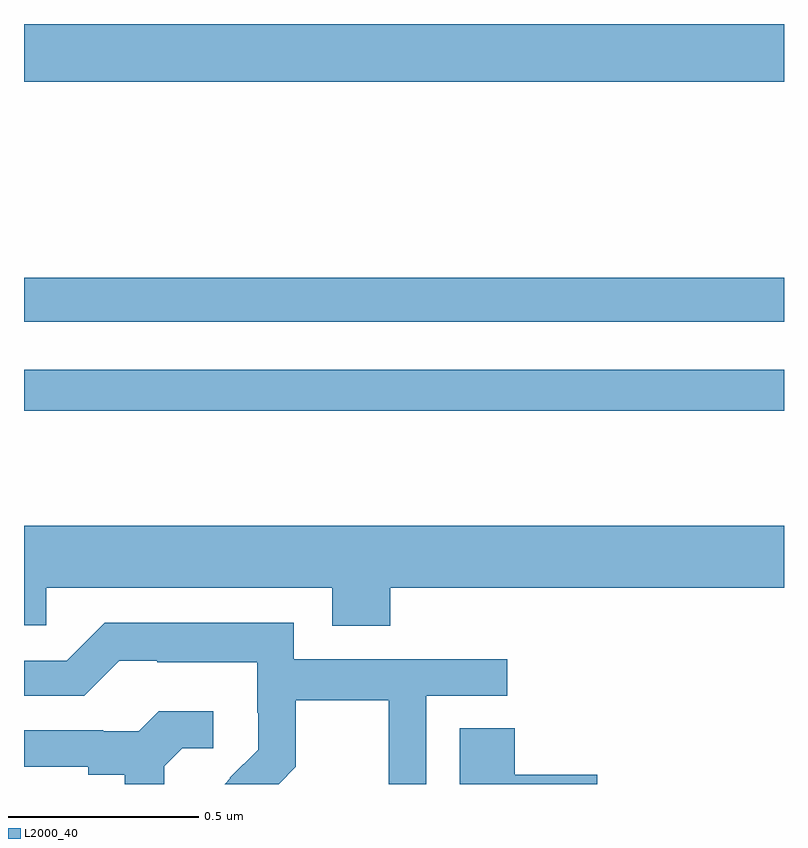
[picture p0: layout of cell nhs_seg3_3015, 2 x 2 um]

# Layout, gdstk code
import gdstk
lib = gdstk.Library(unit=1e-6, precision=1e-09)
def R(c, l, rs):  # rectangles x0, y0, x1, y1
    for r in rs: c.add(gdstk.rectangle(r[:2], r[2:], *l))
def P(c, l, *ps):  # polygons
    for p in ps: c.add(gdstk.Polygon(p, *l))
L2000_40 = (2000, 40)

nhs_seg3_3015 = lib.new_cell('nhs_seg3_3015')
R(nhs_seg3_3015, L2000_40, [(148,701.382,150,701.49), (148,701.616,150,701.732), (148,702.248,150,702.4)])
P(nhs_seg3_3015, L2000_40, [(148.964,700.916),(150,700.916),(150,701.08),(148,701.08),(148,700.818),(148.059,700.818),(148.059,700.916),(148.811,700.916),(148.811,700.817),(148.964,700.817)],
  [(148.715,700.445),(148.715,700.62),(148.96,700.62),(148.96,700.4),(149.058,700.4),(149.058,700.632),(149.272,700.632),(149.272,700.728),(148.71,700.728),(148.71,700.825),(148.213,700.825),(148.113,700.725),(148,700.725),(148,700.632),(148.158,700.632),(148.251,700.725),(148.351,700.725),(148.351,700.721),(148.614,700.721),(148.614,700.587),(148.616,700.587),(148.616,700.49),(148.542,700.416),(148.543,700.415),(148.528,700.4),(148.67,700.4)],
  [(148.369,700.447),(148.416,700.494),(148.498,700.494),(148.498,700.591),(148.354,700.591),(148.302,700.539),(148.208,700.539),(148.208,700.542),(148,700.542),(148,700.446),(148.169,700.446),(148.169,700.424),(148.265,700.424),(148.265,700.4),(148.369,700.4)],
  [(149.509,700.424),(149.291,700.424),(149.291,700.547),(149.147,700.547),(149.147,700.4),(149.509,700.4)])

lib.write_gds('nhs_seg3_3015.gds')
